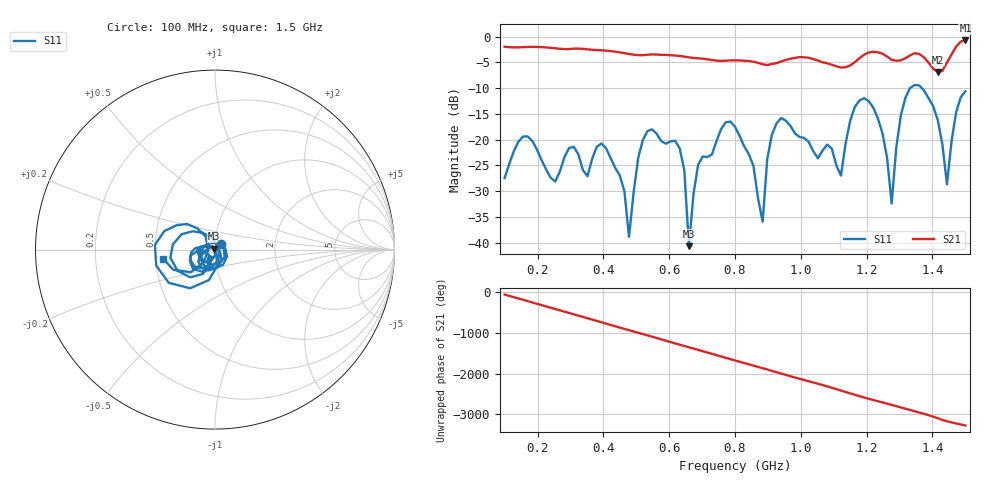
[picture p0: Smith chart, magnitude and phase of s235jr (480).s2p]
! NanoVNA-App
! Date: 2025-09-25 15:07:54
! Start: 100MHz Stop: 1,5GHz Points: 101
! S-Parameter data: F S11 S21 S12 S22
# Hz S RI R 50
!  Frequency  S11_Real  S11_Imag  S21_Real  S21_Imag  S12_Real  S12_Imag  S22_Real  S22_Imag
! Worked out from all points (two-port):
!   101 points, 100 MHz to 1.5 GHz, reference 50 ohm
!   highest |S21| = -0.74 dB at 1.5 GHz (marker M1); lowest = -6.9 dB at 1.416 GHz (marker M2)
!   |S21| within 3 dB of the highest: start of sweep to 632.1 MHz; 1.187 GHz to 1.259 GHz (71.41 MHz wide, 5.84 % of centre) (the widest 2 of 4)
!   lowest |S11| = -40.7 dB at 660 MHz (marker M3), VSWR 1.02, Z = 49.3 + j0.534 ohm
!   |S11| at or under -10 dB: start of sweep to 1.332 GHz; 1.368 GHz to end of sweep
!   S12 and S22 are empty: the file has one direction only
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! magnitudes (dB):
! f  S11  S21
! 100 MHz  -27.5  -2.0
! 156 MHz  -19.4  -2.0
! 338 MHz  -25.9  -2.4
! 408 MHz  -21.6  -2.7
! 478 MHz  -38.9  -3.4
! 520 MHz  -20.1  -3.6
! 576 MHz  -20.3  -3.5
! 632 MHz  -21.7  -3.7
! 660 MHz  -40.7  -4.0
! 688 MHz  -24.9  -4.2
! 800 MHz  -17.5  -4.6
! 884 MHz  -35.9  -5.4
! 926 MHz  -16.9  -5.2
! 1.038 GHz  -22.3  -4.4
! 1.122 GHz  -27.0  -6.0
! 1.164 GHz  -13.7  -4.9
! 1.206 GHz  -12.5  -3.1
! 1.276 GHz  -32.4  -4.5
! 1.332 GHz  -10.0  -3.6
! 1.416 GHz  -16.2  -6.9
! 1.444 GHz  -28.7  -5.0
! 1.5 GHz  -10.6  -0.7
